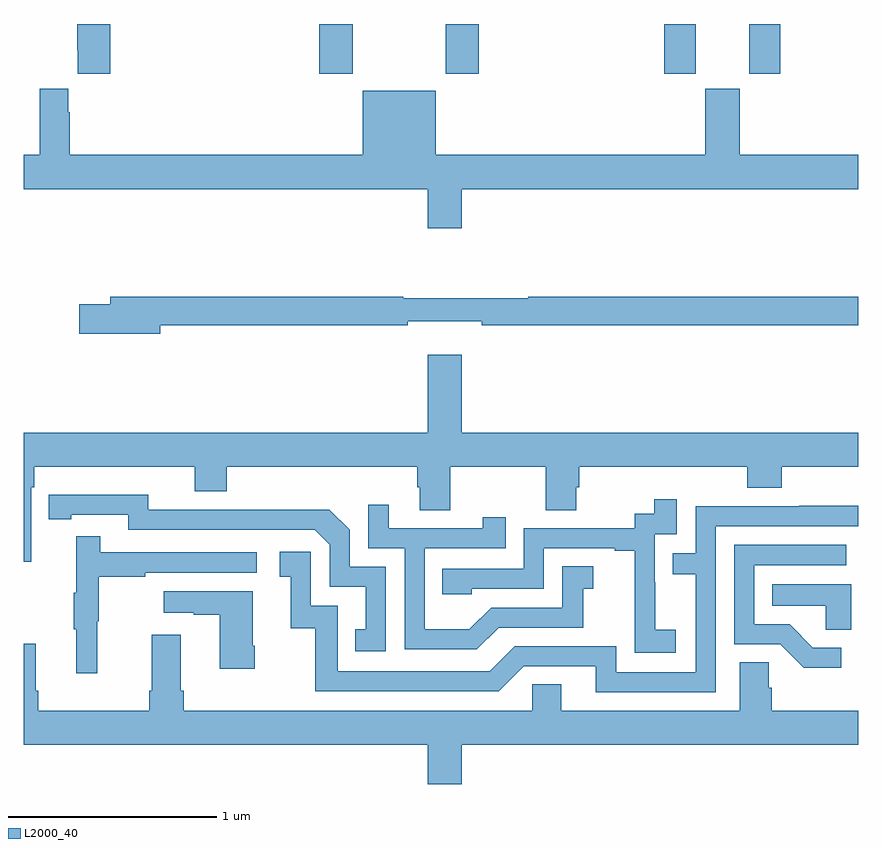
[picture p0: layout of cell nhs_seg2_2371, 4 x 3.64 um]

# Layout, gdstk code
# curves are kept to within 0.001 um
import gdstk
lib = gdstk.Library(unit=1e-6, precision=1e-09)
def R(c, l, rs):  # rectangles x0, y0, x1, y1
    for r in rs: c.add(gdstk.rectangle(r[:2], r[2:], *l))
def P(c, l, *ps):  # polygons
    for p in ps: c.add(gdstk.Polygon(p, *l))
L2000_40 = (2000, 40)

nhs_seg2_2371 = lib.new_cell('nhs_seg2_2371')
R(nhs_seg2_2371, L2000_40, [(236.417,609.561,236.577,609.8), (237.022,609.561,237.182,609.8), (238.07,609.561,238.222,609.8), (238.478,609.561,238.626,609.8)])
P(nhs_seg2_2371, L2000_40, [(235.415,609.8),(235.255,609.8),(235.255,609.673),(235.259,609.673),(235.259,609.561),(235.415,609.561)],
  [(236.624,609.172),(235.22,609.172),(235.22,609.377),(235.213,609.377),(235.213,609.49),(235.076,609.49),(235.076,609.172),(235,609.172),(235,609.008),(236.936,609.008),(236.936,608.82),(237.1,608.82),(237.1,609.008),(239,609.008),(239,609.172),(238.432,609.172),(238.432,609.489),(238.268,609.489),(238.268,609.172),(236.974,609.172),(236.974,609.481),(236.624,609.481)],
  [(235.654,608.356),(236.84,608.356),(236.84,608.375),(237.196,608.375),(237.196,608.356),(239,608.356),(239,608.492),(237.419,608.492),(237.419,608.485),(236.819,608.485),(236.819,608.492),(235.415,608.492),(235.415,608.456),(235.266,608.456),(235.266,608.314),(235.654,608.314)],
  [(235.035,607.58),(235.049,607.58),(235.049,607.676),(235.82,607.676),(235.82,607.559),(235.973,607.559),(235.973,607.676),(236.885,607.676),(236.885,607.578),(236.897,607.578),(236.897,607.468),(237.045,607.468),(237.045,607.676),(237.502,607.676),(237.502,607.468),(237.649,607.468),(237.649,607.578),(237.662,607.578),(237.662,607.676),(238.469,607.676),(238.469,607.577),(238.634,607.577),(238.634,607.676),(239,607.676),(239,607.84),(237.1,607.84),(237.1,608.215),(236.936,608.215),(236.936,607.84),(235,607.84),(235,607.221),(235.035,607.221)],
  [(236.736,607.197),(236.562,607.197),(236.562,607.374),(236.464,607.472),(236.056,607.472),(236.056,607.47),(235.596,607.47),(235.596,607.543),(235.12,607.542),(235.12,607.426),(235.228,607.426),(235.228,607.446),(235.5,607.446),(235.5,607.374),(236.394,607.374),(236.466,607.302),(236.466,607.101),(236.639,607.101),(236.639,606.897),(236.59,606.897),(236.59,606.792),(236.736,606.792)],
  [(238.126,606.895),(238.028,606.895),(238.028,607.124),(238.026,607.124),(238.026,607.353),(238.131,607.353),(238.131,607.522),(238.023,607.522),(238.023,607.452),(237.93,607.452),(237.93,607.383),(237.396,607.383),(237.396,607.188),(237.007,607.188),(237.007,607.065),(237.147,607.065),(237.147,607.092),(237.492,607.092),(237.492,607.287),(237.833,607.287),(237.833,607.275),(237.929,607.275),(237.929,606.991),(237.928,606.991),(237.928,606.785),(238.126,606.785)],
  [(237.277,606.906),(237.681,606.906),(237.681,607.091),(237.73,607.091),(237.73,607.201),(237.582,607.201),(237.582,607.002),(237.24,607.002),(237.136,606.898),(236.922,606.898),(236.922,607.287),(237.311,607.287),(237.311,607.435),(237.2,607.435),(237.2,607.383),(236.749,607.383),(236.749,607.495),(236.652,607.495),(236.652,607.287),(236.826,607.287),(236.826,606.801),(237.172,606.801)],
  [(238.317,607.392),(239,607.392),(239,607.49),(238.717,607.49),(238.717,607.488),(238.221,607.488),(238.221,607.263),(238.111,607.263),(238.111,607.162),(238.221,607.162),(238.221,606.693),(237.84,606.693),(237.84,606.816),(237.354,606.816),(237.234,606.696),(236.505,606.696),(236.505,607.011),(236.376,607.011),(236.376,607.27),(236.226,607.27),(236.226,607.149),(236.279,607.149),(236.279,606.903),(236.397,606.903),(236.397,606.6),(237.276,606.6),(237.396,606.72),(237.743,606.72),(237.743,606.597),(238.317,606.597)],
  [(235.352,606.936),(235.36,606.936),(235.36,607.15),(235.583,607.15),(235.583,607.17),(236.116,607.17),(236.116,607.266),(235.367,607.266),(235.367,607.345),(235.25,607.345),(235.25,607.073),(235.239,607.073),(235.239,606.899),(235.25,606.899),(235.25,606.687),(235.352,606.687)],
  [(238.918,606.81),(238.783,606.81),(238.672,606.921),(238.503,606.921),(238.503,607.206),(238.942,607.206),(238.942,607.302),(238.407,607.302),(238.407,606.825),(238.626,606.825),(238.739,606.713),(238.918,606.713)],
  [(238.966,607.114),(238.588,607.114),(238.588,607.01),(238.845,607.01),(238.845,606.895),(238.966,606.895)],
  [(236.106,606.82),(236.098,606.82),(236.098,607.081),(235.671,607.081),(235.671,606.977),(235.814,606.977),(235.814,606.967),(235.94,606.967),(235.94,606.708),(236.106,606.708)],
  [(236.936,606.156),(237.1,606.156),(237.1,606.344),(239,606.344),(239,606.508),(238.586,606.508),(238.586,606.617),(238.572,606.617),(238.572,606.74),(238.433,606.74),(238.433,606.508),(237.577,606.508),(237.577,606.635),(237.438,606.635),(237.438,606.508),(235.766,606.508),(235.766,606.604),(235.753,606.604),(235.753,606.871),(235.613,606.871),(235.613,606.604),(235.601,606.604),(235.601,606.508),(235.07,606.508),(235.07,606.604),(235.057,606.604),(235.057,606.829),(235,606.829),(235,606.344),(236.936,606.344)])

lib.write_gds('nhs_seg2_2371.gds')
